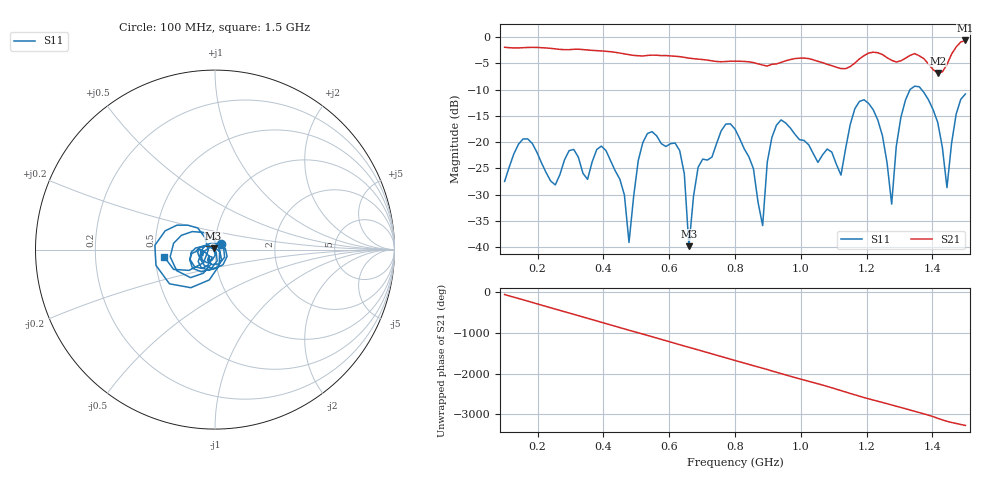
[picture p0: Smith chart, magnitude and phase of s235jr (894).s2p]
! NanoVNA-App
! Date: 2025-09-25 15:11:08
! Start: 100MHz Stop: 1,5GHz Points: 101
! S-Parameter data: F S11 S21 S12 S22
# Hz S RI R 50
!  Frequency  S11_Real  S11_Imag  S21_Real  S21_Imag  S12_Real  S12_Imag  S22_Real  S22_Imag
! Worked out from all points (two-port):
!   101 points, 100 MHz to 1.5 GHz, reference 50 ohm
!   highest |S21| = -0.66 dB at 1.5 GHz (marker M1); lowest = -6.8 dB at 1.416 GHz (marker M2)
!   |S21| within 3 dB of the highest: start of sweep to 618 MHz; 1.19 GHz to 1.255 GHz (65.84 MHz wide, 5.39 % of centre) (the widest 2 of 4)
!   lowest |S11| = -39.8 dB at 660 MHz (marker M3), VSWR 1.02, Z = 49.2 + j0.634 ohm
!   |S11| at or under -10 dB: start of sweep to 1.332 GHz; 1.367 GHz to end of sweep
!   S12 and S22 are empty: the file has one direction only
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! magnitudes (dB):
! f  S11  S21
! 100 MHz  -27.5  -2.0
! 156 MHz  -19.4  -2.0
! 338 MHz  -25.9  -2.4
! 408 MHz  -21.6  -2.7
! 478 MHz  -39.1  -3.4
! 520 MHz  -20.1  -3.6
! 576 MHz  -20.3  -3.5
! 632 MHz  -21.6  -3.7
! 660 MHz  -39.8  -4.0
! 688 MHz  -24.8  -4.2
! 800 MHz  -17.5  -4.6
! 884 MHz  -35.9  -5.3
! 926 MHz  -16.8  -5.1
! 1.038 GHz  -22.2  -4.4
! 1.122 GHz  -26.3  -6.0
! 1.192 GHz  -11.9  -3.6
! 1.248 GHz  -18.8  -3.3
! 1.276 GHz  -31.8  -4.4
! 1.332 GHz  -10.0  -3.5
! 1.416 GHz  -16.3  -6.8
! 1.444 GHz  -28.7  -5.2
! 1.5 GHz  -10.8  -0.7
